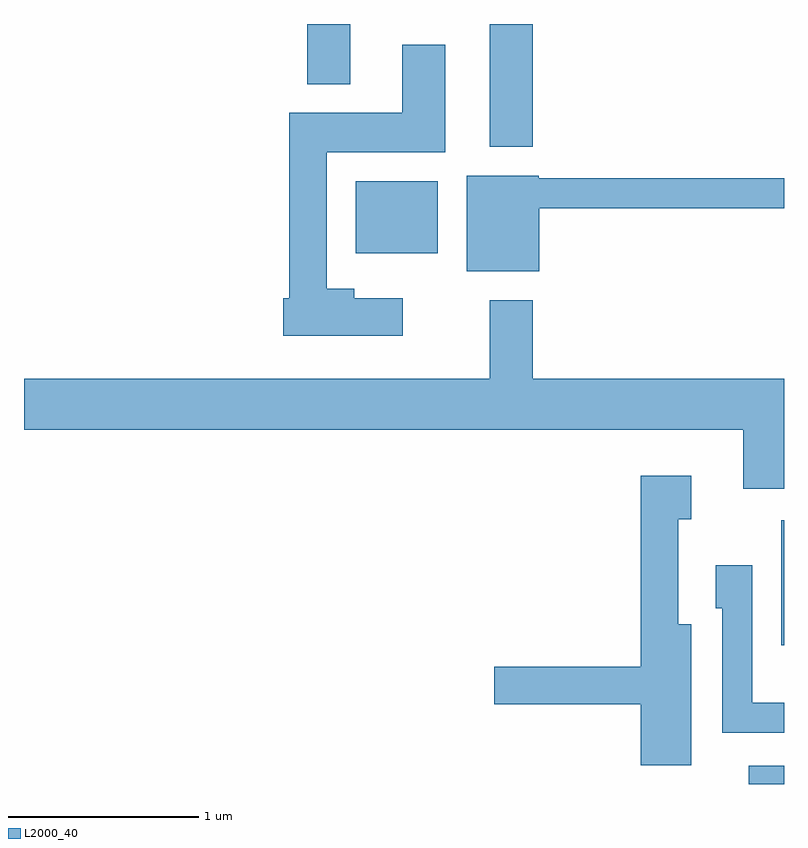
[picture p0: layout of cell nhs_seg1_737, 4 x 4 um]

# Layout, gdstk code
import gdstk
lib = gdstk.Library(unit=1e-6, precision=1e-09)
def R(c, l, rs):  # rectangles x0, y0, x1, y1
    for r in rs: c.add(gdstk.rectangle(r[:2], r[2:], *l))
def P(c, l, *ps):  # polygons
    for p in ps: c.add(gdstk.Polygon(p, *l))
L2000_40 = (2000, 40)

nhs_seg1_737 = lib.new_cell('nhs_seg1_737')
R(nhs_seg1_737, L2000_40, [(211.426,897.712,211.611,897.809), (211.596,898.441,211.611,899.099), (209.356,900.506,209.789,900.884), (210.061,901.066,210.289,901.712), (209.101,901.396,209.329,901.712)])
P(nhs_seg1_737, L2000_40, [(209.604,900.269),(209.349,900.269),(209.349,900.319),(209.204,900.319),(209.204,901.036),(209.829,901.036),(209.829,901.604),(209.601,901.604),(209.601,901.244),(209.006,901.244),(209.006,900.269),(208.976,900.269),(208.976,900.071),(209.604,900.071)],
  [(210.324,900.741),(211.611,900.741),(211.611,900.899),(210.32,900.899),(210.32,900.914),(209.941,900.914),(209.941,900.411),(210.324,900.411)],
  [(211.611,899.844),(210.289,899.844),(210.289,900.259),(210.061,900.259),(210.061,899.844),(207.611,899.844),(207.611,899.576),(211.396,899.576),(211.396,899.266),(211.611,899.266)],
  [(211.124,898.554),(211.054,898.554),(211.054,899.106),(211.124,899.106),(211.124,899.334),(210.856,899.334),(210.856,898.329),(210.086,898.329),(210.086,898.131),(210.856,898.131),(210.856,897.811),(211.124,897.811)],
  [(211.611,898.139),(211.444,898.139),(211.444,898.864),(211.251,898.864),(211.251,898.636),(211.286,898.636),(211.286,897.981),(211.611,897.981)])

lib.write_gds('nhs_seg1_737.gds')
